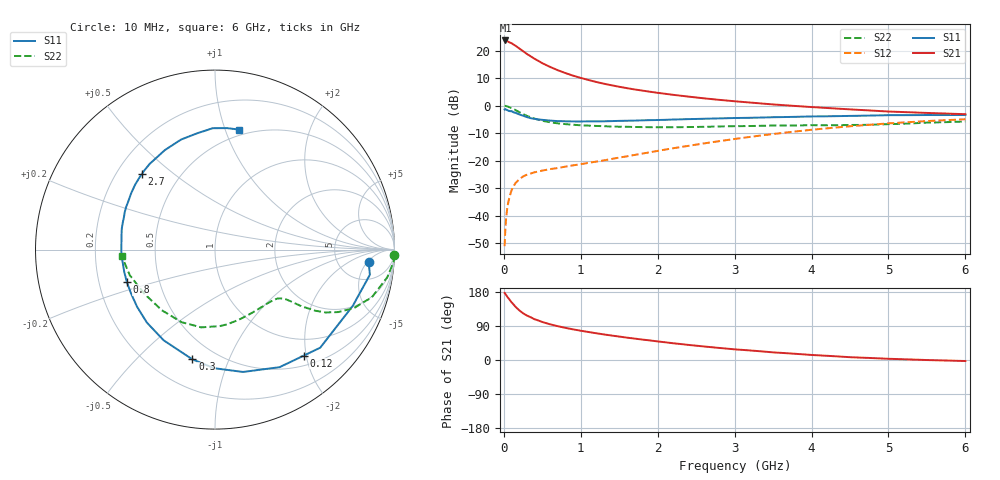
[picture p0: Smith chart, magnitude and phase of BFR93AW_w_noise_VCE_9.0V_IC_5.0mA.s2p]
! Infineon Technologies  Discrete & RF Semiconductors
! BFR93AW
! VCE =  9.0 V,  IC =  5.0 mA
! Common Emitter S-Parameters:  Jan 2017
# GHz  S  MA  R  50
!  f  S11  S21  S12  S22
! GHz  MAG  ANG  MAG  ANG  MAG  ANG  MAG  ANG
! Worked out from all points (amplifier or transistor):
!   77 points, 10 MHz to 6 GHz, reference 50 ohm
!   highest |S21| = 23.8 dB at 20 MHz (marker M1)
!   |S21| within 3 dB of that: start of sweep to 205.2 MHz
!   unconditionally stable (mu >= 1): 1.09 GHz to 2.144 GHz
!   at 130 MHz: K = 0.19, MSG = 25.7 dB, |S12| = -29.1 dB
!   at 2.2 GHz: K = 0.99, MSG = 9.7 dB, |S12| = -15.4 dB
!   at 6 GHz: K = 0.88, MSG = 0.9 dB, |S12| = -4.9 dB
!   lowest NFmin = 1.18 dB at 450 MHz
!   S11 on the Smith chart (normalised r, x): 10 MHz: 10, -5; 120 MHz: 0.67, -1.96; 300 MHz: 0.37, -0.75; 800 MHz: 0.32, -0.16; 2.7 GHz: 0.30, +0.39; 6 GHz: 0.45, +1.12
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0.01  0.8588 -4.7  15.24 177.0  0.0028 87.0  0.9988 -1.8
0.02  0.8743 -9.2  15.46 174.1  0.0059 84.2  0.9983 -3.8
0.05  0.8292 -22.2  14.87 165.5  0.0155 79.3  0.9724 -9.1
0.07  0.8053 -30.3  14.35 160.4  0.0208 73.7  0.9467 -12.1
0.1  0.8015 -43.0  13.81 152.2  0.029 69.2  0.9134 -16.9
0.12  0.7706 -50.0  13.2 147.9  0.033 65.2  0.8831 -19.1
0.15  0.7475 -61.2  12.44 140.7  0.0391 60.8  0.8405 -22.8
0.2  0.6993 -77.1  11.08 131.2  0.046 55.3  0.7695 -26.9
0.25  0.6607 -90.5  9.872 123.3  0.0519 51.2  0.7089 -29.6
0.3  0.6244 -101.6  8.786 117.2  0.0559 48.0  0.6562 -31.3
0.4  0.5809 -119.4  7.162 107.5  0.0618 45.8  0.583 -33.1
0.5  0.5562 -133.0  5.968 100.3  0.0664 45.1  0.5349 -33.9
0.6  0.5386 -143.7  5.115 94.3  0.0706 45.4  0.5027 -34.5
0.8  0.5234 -159.8  3.949 84.8  0.0783 48.8  0.4649 -35.9
1.1  0.5225 -176.7  2.951 73.9  0.0918 53.8  0.4365 -39.3
1.5  0.5326 167.1  2.223 61.8  0.1145 60.0  0.4174 -46.5
2.1  0.5569 148.7  1.655 46.7  0.1603 64.8  0.408 -61.2
2.7  0.586 134.0  1.327 33.8  0.2173 64.7  0.4181 -78.1
3.1  0.6029 125.1  1.179 26.7  0.2607 62.5  0.4275 -89.1
4.1  0.6434 105.4  0.932 12.2  0.3781 53.0  0.4431 -118.0
5.1  0.6764 89.8  0.779 2.6  0.4889 40.2  0.4681 -151.4
6  0.6819 78.5  0.705 -2.7  0.5702 28.0  0.5206 -175.9
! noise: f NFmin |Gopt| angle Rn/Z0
0.45  1.18  0.25  77  0.14
0.9  1.5  0.29  137  0.15
1.9  2.75  0.49  -153  0.19
2.4  3.37  0.57  -135  0.38
